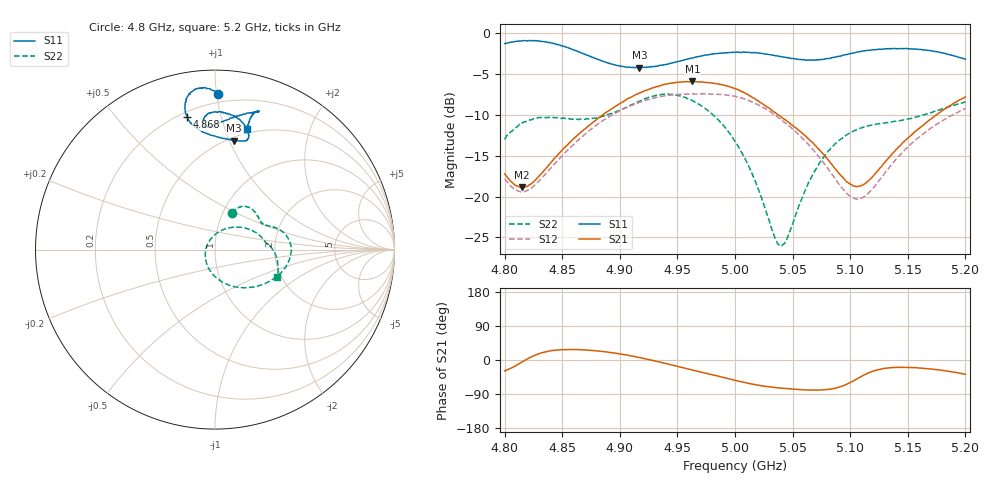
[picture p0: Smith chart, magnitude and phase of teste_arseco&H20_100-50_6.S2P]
! Network Analyzer HP8722D
! Hewlett-Packard
! Data name: Linha & Wilkinson
! Saver's name: Rodrigo Anjos
! Comments: Teste da utilização de aquisição
! continua pelo VNA HP8722D
! Time and date: 6/5/2025 12:37
!  Frequency  S11  S21  S12  S22
# HZ  S  MA R 50
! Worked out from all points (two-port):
!   401 points, 4.8 GHz to 5.2 GHz, reference 50 ohm
!   highest |S21| = -5.88 dB at 4.963 GHz (marker M1); lowest = -18.9 dB at 4.815 GHz (marker M2)
!   |S21| within 3 dB of the highest: 4.897 GHz to 5.027 GHz (129.7 MHz wide, 2.61 % of centre); 5.186302 GHz to end of sweep
!   lowest |S11| = -4.2 dB at 4.917 GHz (marker M3), VSWR 4.22, Z = 26.6 + j52.1 ohm
!   |S11| at or under -10 dB: nowhere
!   |S22| runs from -26.1 to -7.4 dB; largest |S21 - S12| = 0.88
!   S11 on the Smith chart (normalised r, x): 4.8 GHz: 0.15, +1.01; 4.868 GHz: 0.23, +0.79; 5.2 GHz: 0.46, +1.20
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4.8e9  0.8664 88.8  0.138 -28.7  0.1286 99.6  0.2241 65.1
4.815e9  0.8986 93.1  0.1138 -5.3  0.1071 120.0  0.2817 58.4
4.845e9  0.8576 100.6  0.1766 26.2  0.1634 150.9  0.3044 40.3
4.867e9  0.7573 101.8  0.2508 26.8  0.2318 154.8  0.2978 31.1
4.868e9  0.7532 101.8  0.2543 26.7  0.2354 154.7  0.2975 30.9
4.894e9  0.646 93.6  0.3491 18.9  0.3192 149.8  0.3247 24.1
4.917e9  0.6166 80.0  0.4319 6.5  0.379 140.8  0.3844 15.7
4.934e9  0.6355 73.9  0.4754 -5.2  0.4089 131.4  0.4198 4.9
4.963e9  0.7076 76.1  0.508 -26.5  0.4257 113.1  0.388 -20.0
4.983e9  0.7524 82.0  0.4937 -40.7  0.4239 100.0  0.3081 -41.8
5e9  0.7677 87.4  0.4582 -53.6  0.4126 88.1  0.2182 -66.5
5.02e9  0.7608 92.9  0.3867 -66.4  0.3662 74.3  0.1122 -107.8
5.033e9  0.7361 94.7  0.3337 -71.9  0.3212 67.0  0.06042 -154.7
5.039e9  0.7223 95.2  0.3118 -73.9  0.3002 64.6  0.0497 168.7
5.045e9  0.7105 95.5  0.2906 -75.7  0.2774 62.4  0.05476 129.9
5.067e9  0.6872 93.1  0.2159 -79.2  0.1966 58.5  0.1343 61.3
5.085e9  0.7137 87.2  0.1544 -75.8  0.1346 64.0  0.2045 36.4
5.105e9  0.7639 78.9  0.1155 -51.5  0.09682 92.2  0.2556 19.3
5.115e9  0.786 75.6  0.1237 -35.1  0.1036 110.0  0.2711 13.8
5.134e9  0.8062 72.7  0.1744 -20.5  0.1508 126.4  0.2861 7.8
5.17e9  0.7834 74.3  0.2985 -23.8  0.2628 122.1  0.3269 -1.4
5.2e9  0.6951 75.0  0.4072 -37.8  0.3473 110.5  0.3799 -23.9
